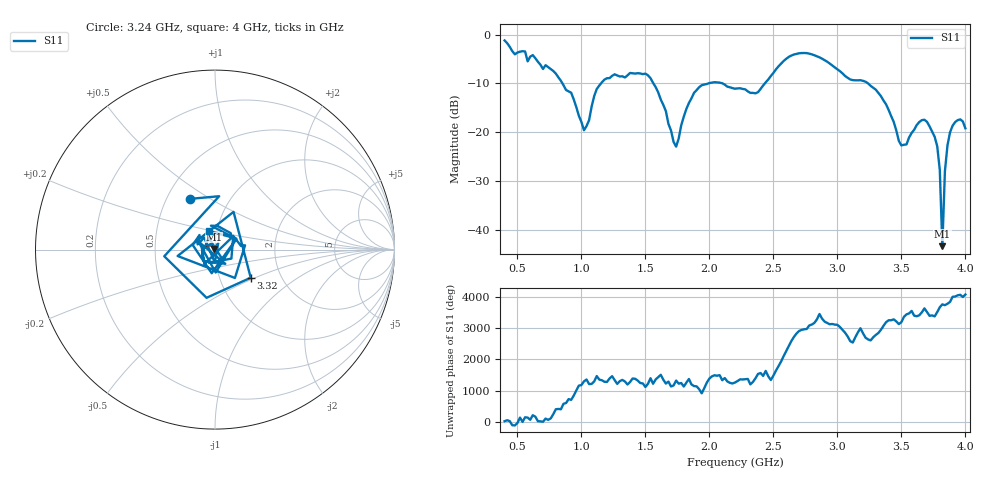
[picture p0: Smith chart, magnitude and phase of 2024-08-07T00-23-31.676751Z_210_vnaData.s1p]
!Created with skrf (http://scikit-rf.org).
# Hz S RI R 50.0
!freq ReS11 ImS11
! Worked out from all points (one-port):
!   181 points, 400 MHz to 4 GHz, reference 50 ohm
!   lowest |S11| = -43.4 dB at 3.82 GHz (marker M1), VSWR 1.01, Z = 49.4 + j0.275 ohm
!   |S11| at or under -10 dB: 1.562 GHz to 1.992 GHz (429.7 MHz wide, 24.2 % of centre); 2.102 GHz to 2.433 GHz (330.6 MHz wide, 14.6 % of centre); 3.24 GHz to end of sweep (the widest 3 of 4)
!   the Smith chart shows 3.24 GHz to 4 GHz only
!   S11 on the Smith chart (normalised r, x): 3.24 GHz: 0.65, +0.41; 3.32 GHz: 1.40, -0.47; 4 GHz: 0.91, +0.19
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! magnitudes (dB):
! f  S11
! 400 MHz  -1.2
! 860 MHz  -10.4
! 920 MHz  -11.9
! 1.02 GHz  -19.6
! 1.12 GHz  -11.1
! 1.3 GHz  -8.6
! 1.52 GHz  -8.3
! 1.66 GHz  -15.7
! 1.72 GHz  -22.0
! 1.76 GHz  -21.3
! 1.82 GHz  -15.3
! 1.92 GHz  -10.8
! 2.2 GHz  -11.1
! 2.38 GHz  -11.8
! 2.66 GHz  -4.1
! 3.1 GHz  -9.2
! 3.24 GHz  -10.0
! 3.32 GHz  -11.9
! 3.5 GHz  -22.7
! 3.56 GHz  -21.1
! 3.68 GHz  -17.5
! 3.76 GHz  -21.0
! 3.8 GHz  -27.8
! 3.82 GHz  -43.4
! 3.84 GHz  -28.0
! 3.86 GHz  -22.7
! 3.92 GHz  -17.9
! 4 GHz  -19.2
